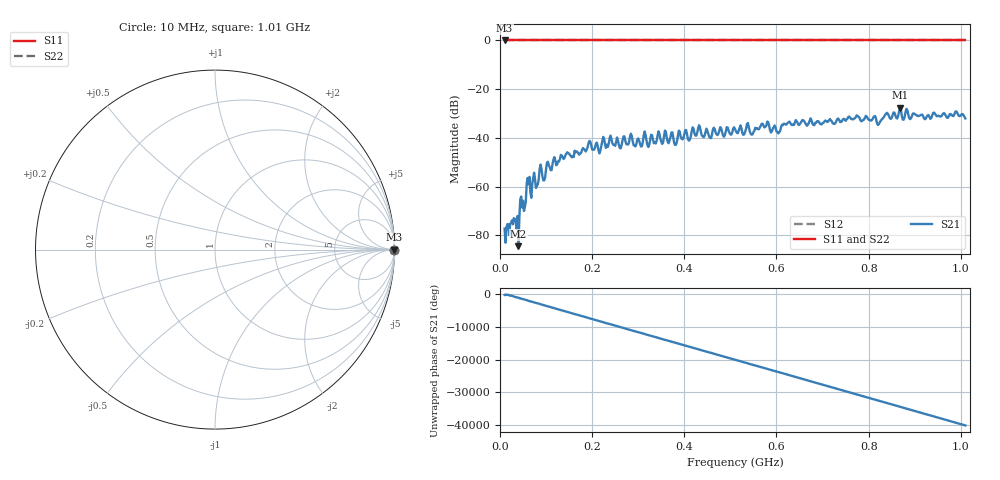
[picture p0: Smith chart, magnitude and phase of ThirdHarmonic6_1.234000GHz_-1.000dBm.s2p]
! 8/16/2025 1:03:34 PM
! C:\ANRITSUVNA\TEMP\TEMP.S2P
! CHANNEL.1
! TR.MEASUREMENT
! RAW.DATA
! RF.CORRECTION.OFF
! AVERAGING.OFF
! IF.BANDWIDTH: 5KHZ
! SWEEPTYPE:  FREQ.SWEEP(Linear)
! Reference Plane Port Info
! PORT:  PORT1  PORT2
! DISTANCE:  0  m  0  m
! TIME:  0  s  0  s
! PHASE.OFFSET:  0  deg.  0  deg.
! LOSS:  0  dB  0  dB
! REF.LOSS:  0  dB  0  dB
! REF.FREQ:  0  Hz  0  Hz
! Power Info
! POWER:  -20  dBm  -20  dBm
! EFF.POWER:  -20  dBm  -20  dBm
! SOURCE.ATTEN:  0  dB  0  dB
! TEST.ATTEN:  0  dB  0  dB
# GHZ S RI R 50.0
! FREQ.GHZ  S11RE  S11IM  S21RE  S21IM  S12RE  S12IM  S22RE  S22IM
!; PortSelection: Port_12
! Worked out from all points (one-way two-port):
!   501 points, 10 MHz to 1.01 GHz, reference 50 ohm
!   highest |S21| = -27.57 dB at 868 MHz (marker M1); lowest = -84.5 dB at 40 MHz (marker M2)
!   lowest |S11| = 0.0 dB at 10 MHz (marker M3)
!   |S11| at or under -10 dB: nowhere
!   |S22| runs from 0.0 to 0.0 dB; largest |S21 - S12| = 1
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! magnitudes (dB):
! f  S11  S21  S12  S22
! 10 MHz  0.0  -77.3  0.0  0.0
! 40 MHz  0.0  -84.5  0.0  0.0
! 62 MHz  0.0  -59.0  0.0  0.0
! 80 MHz  0.0  -59.7  0.0  0.0
! 88 MHz  0.0  -51.0  0.0  0.0
! 118 MHz  0.0  -47.9  0.0  0.0
! 178 MHz  0.0  -45.0  0.0  0.0
! 344 MHz  0.0  -37.3  0.0  0.0
! 380 MHz  0.0  -42.9  0.0  0.0
! 432 MHz  0.0  -34.8  0.0  0.0
! 456 MHz  0.0  -40.0  0.0  0.0
! 510 MHz  0.0  -36.4  0.0  0.0
! 548 MHz  0.0  -38.6  0.0  0.0
! 580 MHz  0.0  -33.3  0.0  0.0
! 604 MHz  0.0  -38.2  0.0  0.0
! 626 MHz  0.0  -33.6  0.0  0.0
! 678 MHz  0.0  -34.1  0.0  0.0
! 776 MHz  0.0  -30.9  0.0  0.0
! 822 MHz  0.0  -34.4  0.0  0.0
! 844 MHz  0.0  -31.0  0.0  0.0
! 868 MHz  0.0  -27.6  0.0  0.0
! 1.01 GHz  0.0  -32.0  0.0  0.0
